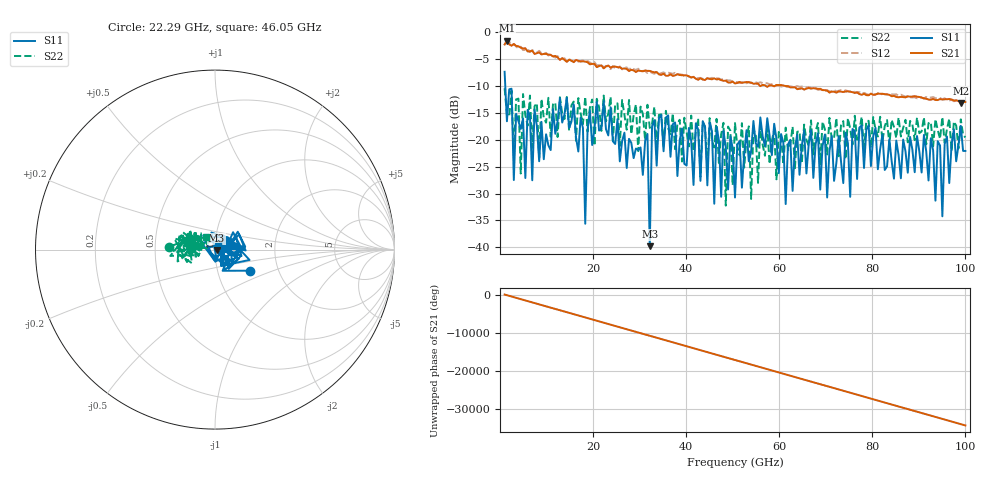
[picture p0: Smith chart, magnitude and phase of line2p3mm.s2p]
!Created with skrf (http://scikit-rf.org).
# GHz S RI R 50.0
!freq ReS11 ImS11 ReS21 ImS21 ReS12 ImS12 ReS22 ImS22
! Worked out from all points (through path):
!   201 points, 1 GHz to 100 GHz, reference 50 ohm
!   highest |S21| = -1.53 dB at 1.495 GHz (marker M1); lowest = -13.2 dB at 99.01 GHz (marker M2)
!   lowest |S11| = -39.8 dB at 32.19 GHz (marker M3), VSWR 1.02, Z = 50.9 - j0.491 ohm
!   |S11| at or under -10 dB: 1.144 GHz to end of sweep
!   |S22| runs from -32.2 to -10.4 dB; largest |S21 - S12| = 0.099
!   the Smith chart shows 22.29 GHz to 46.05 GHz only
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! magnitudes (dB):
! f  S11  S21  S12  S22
! 1 GHz  -7.3  -2.2  -1.5  -10.4
! 1.495 GHz  -16.5  -1.5  -1.5  -15.2
! 17.83 GHz  -17.8  -5.4  -5.2  -17.1
! 18.32 GHz  -35.6  -5.4  -5.7  -12.0
! 19.32 GHz  -14.5  -5.9  -5.6  -14.0
! 31.69 GHz  -18.9  -7.2  -7.6  -13.5
! 32.19 GHz  -39.8  -7.2  -7.3  -17.8
! 32.68 GHz  -17.5  -7.3  -7.5  -17.0
! 34.16 GHz  -16.0  -7.8  -7.7  -15.3
! 45.05 GHz  -16.7  -8.7  -8.6  -16.0
! 46.05 GHz  -31.9  -8.6  -8.6  -21.4
! 48.02 GHz  -18.3  -9.0  -8.7  -16.8
! 48.52 GHz  -21.4  -9.0  -8.8  -32.2
! 50.5 GHz  -30.7  -9.5  -9.2  -16.9
! 53.97 GHz  -22.2  -9.3  -9.4  -31.0
! 55.95 GHz  -15.8  -10.0  -9.3  -17.3
! 67.33 GHz  -27.1  -10.4  -10.5  -22.7
! 83.67 GHz  -19.9  -11.6  -11.4  -21.0
! 94.06 GHz  -20.3  -12.6  -12.2  -18.2
! 95.05 GHz  -34.2  -12.5  -12.4  -15.7
! 99.01 GHz  -17.4  -13.2  -13.0  -16.2
! 100 GHz  -22.1  -12.9  -12.8  -19.6
